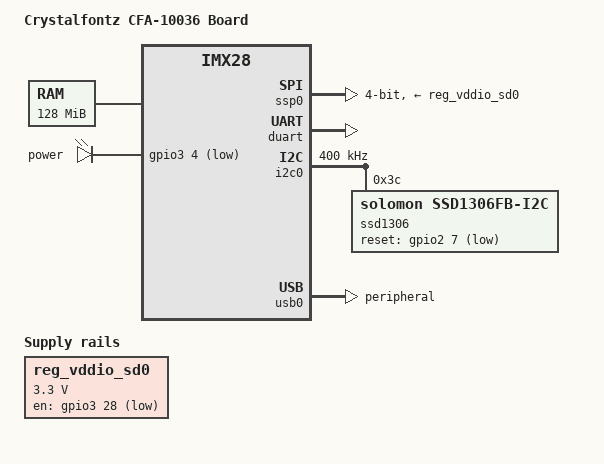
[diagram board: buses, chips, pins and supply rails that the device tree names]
// SPDX-License-Identifier: GPL-2.0-or-later
/*
 * Copyright 2012 Free Electrons
 */

/dts-v1/;
#include "imx28.dtsi"
#include <dt-bindings/gpio/gpio.h>

/ {
	model = "Crystalfontz CFA-10036 Board";
	compatible = "crystalfontz,cfa10036", "fsl,imx28";

	memory@40000000 {
		device_type = "memory";
		reg = <0x40000000 0x08000000>;
	};

	apb@80000000 {
		apbh@80000000 {
			pinctrl@80018000 {
				ssd1306_cfa10036: ssd1306-10036@0 {
					reg = <0>;
					fsl,pinmux-ids = <
						MX28_PAD_SSP0_DATA7__GPIO_2_7
					>;
					fsl,drive-strength = <MXS_DRIVE_4mA>;
					fsl,voltage = <MXS_VOLTAGE_HIGH>;
					fsl,pull-up = <MXS_PULL_DISABLE>;
				};

				led_pins_cfa10036: leds-10036@0 {
					reg = <0>;
					fsl,pinmux-ids = <
						MX28_PAD_AUART1_RX__GPIO_3_4
					>;
					fsl,drive-strength = <MXS_DRIVE_4mA>;
					fsl,voltage = <MXS_VOLTAGE_HIGH>;
					fsl,pull-up = <MXS_PULL_DISABLE>;
				};

				usb0_otg_cfa10036: otg-10036@0 {
					reg = <0>;
					fsl,pinmux-ids = <
						MX28_PAD_GPMI_RDY0__USB0_ID
					>;
					fsl,drive-strength = <MXS_DRIVE_4mA>;
					fsl,voltage = <MXS_VOLTAGE_HIGH>;
					fsl,pull-up = <MXS_PULL_DISABLE>;
				};

				mmc_pwr_cfa10036: mmc_pwr_cfa10036@0 {
					reg = <0>;
					fsl,pinmux-ids = <
						0x31c3 /*
						MX28_PAD_PWM3__GPIO_3_28 */
					>;
					fsl,drive-strength = <0>;
					fsl,voltage = <1>;
					fsl,pull-up = <0>;
				};

			};

			ssp0: spi@80010000 {
				compatible = "fsl,imx28-mmc";
				pinctrl-names = "default";
				pinctrl-0 = <&mmc0_4bit_pins_a
					&mmc0_cd_cfg &mmc0_sck_cfg>;
				vmmc-supply = <&reg_vddio_sd0>;
				bus-width = <4>;
				status = "okay";
			};
		};

		apbx@80040000 {
			duart: serial@80074000 {
				pinctrl-names = "default";
				pinctrl-0 = <&duart_pins_b>;
				status = "okay";
			};

			i2c0: i2c@80058000 {
				pinctrl-names = "default";
				pinctrl-0 = <&i2c0_pins_b>;
				clock-frequency = <400000>;
				status = "okay";

				ssd1306: oled@3c {
					compatible = "solomon,ssd1306fb-i2c";
					pinctrl-names = "default";
					pinctrl-0 = <&ssd1306_cfa10036>;
					reg = <0x3c>;
					reset-gpios = <&gpio2 7 GPIO_ACTIVE_LOW>;
					solomon,height = <32>;
					solomon,width = <128>;
					solomon,page-offset = <0>;
					solomon,com-lrremap;
					solomon,com-invdir;
					solomon,com-offset = <32>;
				};
			};

			usbphy0: usbphy@8007c000 {
				status = "okay";
			};
		};
	};

	ahb@80080000 {
		usb0: usb@80080000 {
			pinctrl-names = "default";
			pinctrl-0 = <&usb0_otg_cfa10036>;
			dr_mode = "peripheral";
			phy_type = "utmi";
			status = "okay";
		};
	};

	leds {
		compatible = "gpio-leds";
		pinctrl-names = "default";
		pinctrl-0 = <&led_pins_cfa10036>;

		power {
			gpios = <&gpio3 4 1>;
			default-state = "on";
		};
	};

	reg_vddio_sd0: vddio-sd0 {
		compatible = "regulator-fixed";
		pinctrl-names = "default";
		pinctrl-0 = <&mmc_pwr_cfa10036>;
		regulator-name = "vddio-sd0";
		regulator-min-microvolt = <3300000>;
		regulator-max-microvolt = <3300000>;
		gpio = <&gpio3 28 0>;
	};
};
